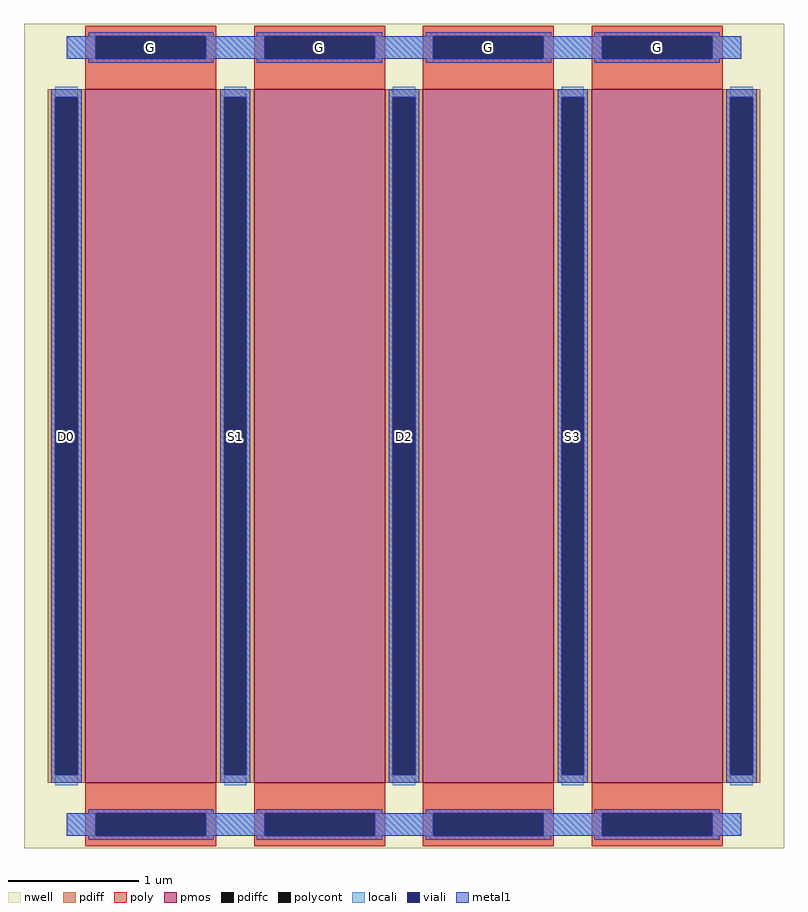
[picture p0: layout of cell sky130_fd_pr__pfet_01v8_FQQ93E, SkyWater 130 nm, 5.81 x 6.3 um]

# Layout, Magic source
magic
tech sky130A
magscale 1 2
<< nwell >>
rect -581 -630 581 630
<< pmos >>
rect -487 -530 -287 530
rect -229 -530 -29 530
rect 29 -530 229 530
rect 287 -530 487 530
<< pdiff >>
rect -545 518 -487 530
rect -545 -518 -533 518
rect -499 -518 -487 518
rect -545 -530 -487 -518
rect -287 518 -229 530
rect -287 -518 -275 518
rect -241 -518 -229 518
rect -287 -530 -229 -518
rect -29 518 29 530
rect -29 -518 -17 518
rect 17 -518 29 518
rect -29 -530 29 -518
rect 229 518 287 530
rect 229 -518 241 518
rect 275 -518 287 518
rect 229 -530 287 -518
rect 487 518 545 530
rect 487 -518 499 518
rect 533 -518 545 518
rect 487 -530 545 -518
<< pdiffc >>
rect -533 -518 -499 518
rect -275 -518 -241 518
rect -17 -518 17 518
rect 241 -518 275 518
rect 499 -518 533 518
<< poly >>
rect -487 611 -287 627
rect -487 577 -471 611
rect -303 577 -287 611
rect -487 530 -287 577
rect -229 611 -29 627
rect -229 577 -213 611
rect -45 577 -29 611
rect -229 530 -29 577
rect 29 611 229 627
rect 29 577 45 611
rect 213 577 229 611
rect 29 530 229 577
rect 287 611 487 627
rect 287 577 303 611
rect 471 577 487 611
rect 287 530 487 577
rect -487 -577 -287 -530
rect -487 -611 -471 -577
rect -303 -611 -287 -577
rect -487 -627 -287 -611
rect -229 -577 -29 -530
rect -229 -611 -213 -577
rect -45 -611 -29 -577
rect -229 -627 -29 -611
rect 29 -577 229 -530
rect 29 -611 45 -577
rect 213 -611 229 -577
rect 29 -627 229 -611
rect 287 -577 487 -530
rect 287 -611 303 -577
rect 471 -611 487 -577
rect 287 -627 487 -611
<< polycont >>
rect -471 577 -303 611
rect -213 577 -45 611
rect 45 577 213 611
rect 303 577 471 611
rect -471 -611 -303 -577
rect -213 -611 -45 -577
rect 45 -611 213 -577
rect 303 -611 471 -577
<< locali >>
rect -516 577 -471 611
rect -303 577 -213 611
rect -45 577 45 611
rect 213 577 303 611
rect 471 577 516 611
rect -533 518 -499 534
rect -533 -534 -499 -518
rect -275 518 -241 534
rect -275 -534 -241 -518
rect -17 518 17 534
rect -17 -534 17 -518
rect 241 518 275 534
rect 241 -534 275 -518
rect 499 518 533 534
rect 499 -534 533 -518
rect -516 -611 -471 -577
rect -303 -611 -213 -577
rect -45 -611 45 -577
rect 213 -611 303 -577
rect 471 -611 516 -577
<< viali >>
rect -471 577 -303 611
rect -213 577 -45 611
rect 45 577 213 611
rect 303 577 471 611
rect -533 -518 -499 518
rect -275 -518 -241 518
rect -17 -518 17 518
rect 241 -518 275 518
rect 499 -518 533 518
rect -471 -611 -303 -577
rect -213 -611 -45 -577
rect 45 -611 213 -577
rect 303 -611 471 -577
<< metal1 >>
rect -483 611 -291 617
rect -225 611 -33 617
rect 33 611 225 617
rect 291 611 483 617
rect -516 577 -471 611
rect -303 577 -213 611
rect -45 577 45 611
rect 213 577 303 611
rect 471 577 516 611
rect -483 571 -291 577
rect -225 571 -33 577
rect 33 571 225 577
rect 291 571 483 577
rect -539 518 -493 530
rect -539 -518 -533 518
rect -499 -518 -493 518
rect -539 -530 -493 -518
rect -281 518 -235 530
rect -281 -518 -275 518
rect -241 -518 -235 518
rect -281 -530 -235 -518
rect -23 518 23 530
rect -23 -518 -17 518
rect 17 -518 23 518
rect -23 -530 23 -518
rect 235 518 281 530
rect 235 -518 241 518
rect 275 -518 281 518
rect 235 -530 281 -518
rect 493 518 539 530
rect 493 -518 499 518
rect 533 -518 539 518
rect 493 -530 539 -518
rect -483 -577 -291 -571
rect -225 -577 -33 -571
rect 33 -577 225 -571
rect 291 -577 483 -571
rect -516 -611 -471 -577
rect -303 -611 -213 -577
rect -45 -611 45 -577
rect 213 -611 303 -577
rect 471 -611 516 -577
rect -483 -617 -291 -611
rect -225 -617 -33 -611
rect 33 -617 225 -611
rect 291 -617 483 -611
<< labels >>
rlabel pdiffc -516 0 -516 0 0 D0
port 1 nsew
rlabel polycont -387 594 -387 594 0 G
port 2 nsew
rlabel pdiffc -258 0 -258 0 0 S1
port 3 nsew
rlabel polycont -129 594 -129 594 0 G
port 2 nsew
rlabel pdiffc 0 0 0 0 0 D2
port 4 nsew
rlabel polycont 129 594 129 594 0 G
port 2 nsew
rlabel pdiffc 258 0 258 0 0 S3
port 5 nsew
rlabel polycont 387 594 387 594 0 G
port 2 nsew
<< properties >>
string gencell sky130_fd_pr__pfet_01v8
string library sky130
string parameters w 5.3 l 1 m 1 nf 4 diffcov 100 polycov 100 guard 0 glc 0 grc 0 gtc 0 gbc 0 tbcov 100 rlcov 100 topc 1 botc 1 poverlap 0 doverlap 1 lmin 0.15 wmin 0.42 class mosfet compatible {sky130_fd_pr__pfet_01v8  sky130_fd_pr__pfet_01v8_lvt sky130_fd_pr__pfet_01v8_hvt  sky130_fd_pr__pfet_g5v0d10v5} full_metal 0 conn_gates 1 viasrc 100 viadrn 100 viagate 100 viagb 0 viagr 0 viagl 0 viagt 0 doports 1
<< end >>
